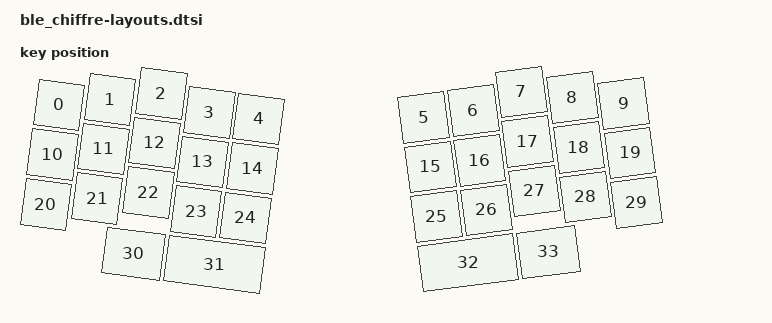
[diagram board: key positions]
/*
 * Copyright (c) 2024 Pete Johanson, TJ Campie
 *
 * SPDX-License-Identifier: MIT
 */

#include <physical_layouts.dtsi>

/ {
    chosen {
        zmk,physical-layout = &default_layout;
    };

    default_layout: default_layout {
        compatible = "zmk,physical-layout";
        display-name = "Default";

        transform = <&default_transform>;

        keys  //                     w   h    x    y     rot   rx     ry
            = <&key_physical_attrs 100 100    0   50     750  600  (-50)>
            , <&key_physical_attrs 100 100  100   25     750  600  (-50)>
            , <&key_physical_attrs 100 100  200    0     750  600  (-50)>
            , <&key_physical_attrs 100 100  300   25     750  600  (-50)>
            , <&key_physical_attrs 100 100  400   25     750  600  (-50)>
            , <&key_physical_attrs 100 100  700   25  (-750)  575  (-50)>
            , <&key_physical_attrs 100 100  800   25  (-750)  575  (-50)>
            , <&key_physical_attrs 100 100  900    0  (-750)  575  (-50)>
            , <&key_physical_attrs 100 100 1000   25  (-750)  575  (-50)>
            , <&key_physical_attrs 100 100 1100   50  (-750)  575  (-50)>
            , <&key_physical_attrs 100 100    0  150     750  600  (-50)>
            , <&key_physical_attrs 100 100  100  125     750  600  (-50)>
            , <&key_physical_attrs 100 100  200  100     750  600  (-50)>
            , <&key_physical_attrs 100 100  300  125     750  600  (-50)>
            , <&key_physical_attrs 100 100  400  125     750  600  (-50)>
            , <&key_physical_attrs 100 100  700  125  (-750)  575  (-50)>
            , <&key_physical_attrs 100 100  800  125  (-750)  575  (-50)>
            , <&key_physical_attrs 100 100  900  100  (-750)  575  (-50)>
            , <&key_physical_attrs 100 100 1000  125  (-750)  575  (-50)>
            , <&key_physical_attrs 100 100 1100  150  (-750)  575  (-50)>
            , <&key_physical_attrs 100 100    0  250     750  600  (-50)>
            , <&key_physical_attrs 100 100  100  225     750  600  (-50)>
            , <&key_physical_attrs 100 100  200  200     750  600  (-50)>
            , <&key_physical_attrs 100 100  300  225     750  600  (-50)>
            , <&key_physical_attrs 100 100  400  225     750  600  (-50)>
            , <&key_physical_attrs 100 100  700  225  (-750)  575  (-50)>
            , <&key_physical_attrs 100 100  800  225  (-750)  575  (-50)>
            , <&key_physical_attrs 100 100  900  200  (-750)  575  (-50)>
            , <&key_physical_attrs 100 100 1000  225  (-750)  575  (-50)>
            , <&key_physical_attrs 100 100 1100  250  (-750)  575  (-50)>
            , <&key_physical_attrs 125 100  175  325     750  600  (-50)>
            , <&key_physical_attrs 200 100  300  325     750  600  (-50)>
            , <&key_physical_attrs 200 100  700  325  (-750)  575  (-50)>
            , <&key_physical_attrs 125 100  900  325  (-750)  575  (-50)>
            ;
    };
};
